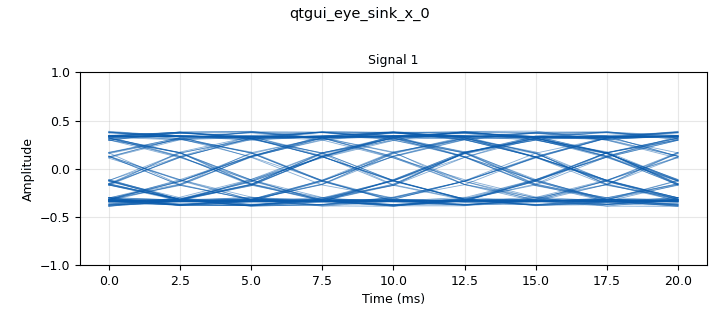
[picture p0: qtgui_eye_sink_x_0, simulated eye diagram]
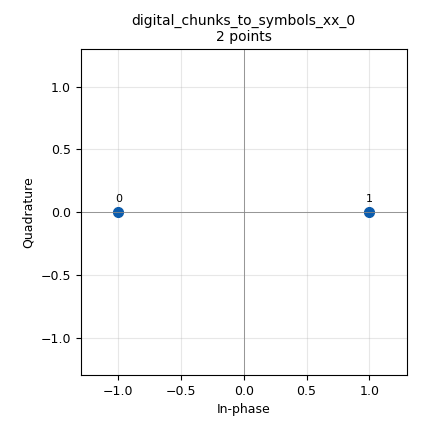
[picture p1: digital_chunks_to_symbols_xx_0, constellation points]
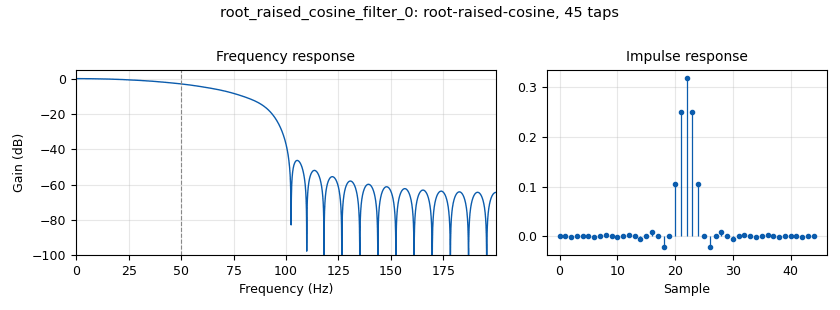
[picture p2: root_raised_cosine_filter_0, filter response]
options:
  parameters:
    author: abhi
    generate_options: qt_gui
    id: default
    output_language: python
    title: Not titled yet
  states: {}

blocks:
- name: samp_rate
  id: variable
  parameters:
    value: symb_rate*sps
  states: {}
- name: sps
  id: variable
  parameters:
    value: '4'
  states: {}
- name: symb_rate
  id: variable
  parameters:
    value: '100'
  states: {}
- name: analog_random_source_x_0
  id: analog_random_source_x
  parameters:
    max: '2'
    min: '0'
    num_samps: '1000'
    repeat: 'True'
    type: int
  states: {}
- name: blocks_repeat_0
  id: blocks_repeat
  parameters:
    interp: sps
    type: complex
  states: {state: disabled}
- name: blocks_vector_source_x_0
  id: blocks_vector_source_x
  parameters:
    repeat: 'True'
    type: complex
    vector: (1, -1,  1,  -1 , 1, 1, -1)
  states: {state: disabled}
- name: digital_chunks_to_symbols_xx_0
  id: digital_chunks_to_symbols_xx
  parameters:
    dimension: '1'
    in_type: int
    out_type: float
    symbol_table: (-1, 1)
  states: {}
- name: interp_fir_filter_xxx_0
  id: interp_fir_filter_xxx
  parameters:
    interp: '3'
    taps: '1'
    type: fff
  states: {}
- name: qtgui_eye_sink_x_0
  id: qtgui_eye_sink_x
  parameters:
    samp_per_symbol: sps
    size: '1024'
    srate: samp_rate
    type: float
  states: {}
- name: qtgui_sink_x_0
  id: qtgui_sink_x
  parameters:
    bw: samp_rate
    fc: '0'
    fftsize: '1024'
    type: float
  states: {state: disabled}
- name: qtgui_sink_x_1
  id: qtgui_sink_x
  parameters:
    bw: samp_rate
    fc: '0'
    fftsize: '1024'
    type: float
  states: {state: disabled}
- name: root_raised_cosine_filter_0
  id: root_raised_cosine_filter
  parameters:
    alpha: '1'
    decim: '1'
    gain: '1'
    ntaps: 11*sps
    samp_rate: symb_rate*sps
    sym_rate: symb_rate
    type: fir_filter_fff
  states: {}

connections:
- [analog_random_source_x_0, '0', digital_chunks_to_symbols_xx_0, '0']
- [blocks_repeat_0, '0', qtgui_sink_x_1, '0']
- [blocks_repeat_0, '0', root_raised_cosine_filter_0, '0']
- [blocks_vector_source_x_0, '0', blocks_repeat_0, '0']
- [digital_chunks_to_symbols_xx_0, '0', interp_fir_filter_xxx_0, '0']
- [interp_fir_filter_xxx_0, '0', qtgui_sink_x_1, '0']
- [interp_fir_filter_xxx_0, '0', root_raised_cosine_filter_0, '0']
- [root_raised_cosine_filter_0, '0', qtgui_eye_sink_x_0, '0']
- [root_raised_cosine_filter_0, '0', qtgui_sink_x_0, '0']

metadata:
  file_format: 1
  grc_version: 3.9.8.0-rc1
